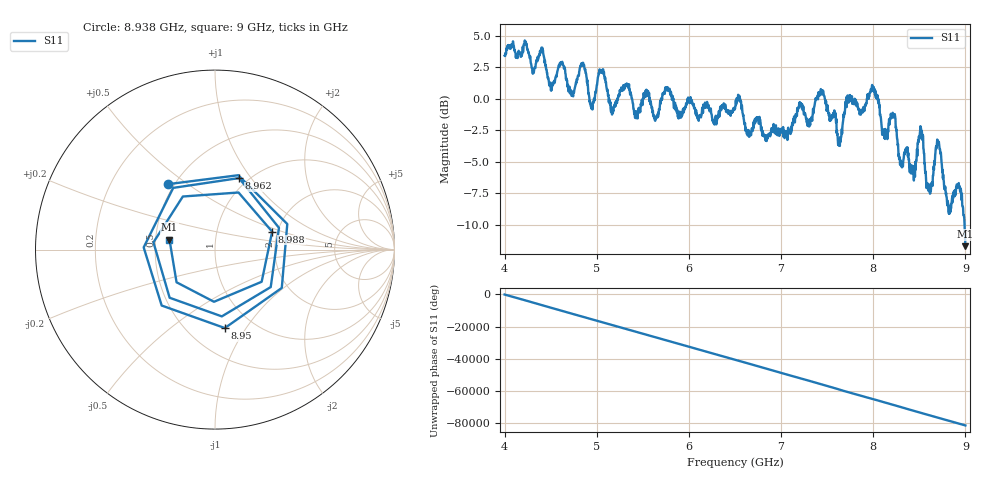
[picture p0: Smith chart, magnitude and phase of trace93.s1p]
! Created with skrf 1.8.0 (http://scikit-rf.org).
# Hz S RI R 50.0
!freq ReS11 ImS11
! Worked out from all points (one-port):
!   1601 points, 4 GHz to 9 GHz, reference 50 ohm
!   lowest |S11| = -11.7 dB at 9 GHz (marker M1), VSWR 1.70, Z = 29.6 + j3.57 ohm
!   |S11| at or under -10 dB: 8.990908 GHz to end of sweep
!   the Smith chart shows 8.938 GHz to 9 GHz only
!   S11 on the Smith chart (normalised r, x): 8.938 GHz: 0.46, +0.42; 8.95 GHz: 0.74, -0.81; 8.962 GHz: 0.91, +0.88; 8.988 GHz: 1.87, +0.42; 9 GHz: 0.59, +0.07
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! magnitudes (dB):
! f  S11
! 4 GHz  3.4
! 4.403 GHz  4.0
! 4.509 GHz  0.7
! 4.625 GHz  3.0
! 4.734 GHz  0.5
! 4.85 GHz  2.9
! 4.944 GHz  -0.8
! 5.044 GHz  2.1
! 5.162 GHz  -0.8
! 5.25 GHz  0.7
! 5.875 GHz  -0.9
! 6.5 GHz  -0.8
! 7.125 GHz  -2.1
! 7.444 GHz  0.7
! 7.638 GHz  -3.7
! 7.75 GHz  0.1
! 8 GHz  0.9
! 8.375 GHz  -4.6
! 8.434 GHz  -5.4
! 8.516 GHz  -2.3
! 8.6 GHz  -7.3
! 8.7 GHz  -3.3
! 8.819 GHz  -9.0
! 8.938 GHz  -6.9
! 8.95 GHz  -7.1
! 8.962 GHz  -7.5
! 8.988 GHz  -9.5
! 9 GHz  -11.7
